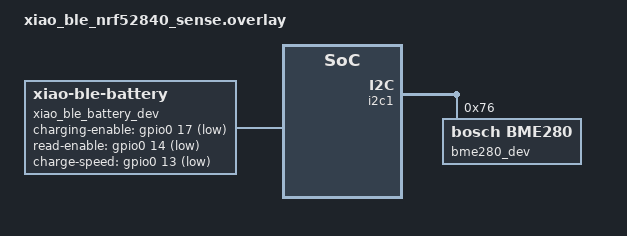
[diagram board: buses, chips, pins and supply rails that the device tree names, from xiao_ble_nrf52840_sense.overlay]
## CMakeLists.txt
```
cmake_minimum_required(VERSION 3.20.0)
find_package(Zephyr REQUIRED HINTS $ENV{ZEPHYR_BASE})

project(xiao-sense-bme280)

file(GLOB src src/*.c)
target_sources(app PRIVATE ${src})
```

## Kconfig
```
source "Kconfig.zephyr"

menu "XIAO Sense Battery Management Library configuration"

choice BATTERY_ADC_FILTERING_ALGORITHM
    prompt "ADC values filtering algorithm"
    default BATTERY_ADC_FILTERING_ALGORITHM_AVERAGE

config BATTERY_ADC_FILTERING_ALGORITHM_AVERAGE
    bool "Average"

config BATTERY_ADC_FILTERING_ALGORITHM_TRIMMED_MEAN
    bool "Trimmed-Mean"

endchoice

endmenu
```

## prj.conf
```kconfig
CONFIG_GPIO=y
CONFIG_ADC=y

CONFIG_SENSOR=y
CONFIG_SENSOR_ASYNC_API=y
CONFIG_BME280_MODE_FORCED=y

CONFIG_USB_DEVICE_STACK_NEXT=y
CONFIG_CDC_ACM_SERIAL_PRODUCT_STRING="XIAO-Sense"
CONFIG_CDC_ACM_SERIAL_PID=0x0006
CONFIG_CDC_ACM_SERIAL_VID=0x2FE3
CONFIG_CDC_ACM_SERIAL_INITIALIZE_AT_BOOT=y
# Fix: <err> udc: Failed to allocate net_buf 4095, ep 0x80
CONFIG_UDC_BUF_POOL_SIZE=8192

CONFIG_SERIAL=y
CONFIG_CONSOLE=y
CONFIG_LOG=y

CONFIG_BT=y
CONFIG_BT_PERIPHERAL=y
CONFIG_BT_DEVICE_NAME="XIAO-SENSE"
CONFIG_BT_DEVICE_APPEARANCE=21
CONFIG_BT_BAS=y
# Reserve more buffers for the attributes notifications to prevent the:
# <err> bt_att: Unable to allocate buffer for op 0x1b
CONFIG_BT_ATT_TX_COUNT=4
CONFIG_BT_CTLR_TX_PWR_DYNAMIC_CONTROL=y
```

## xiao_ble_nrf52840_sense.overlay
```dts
/ {
    xiao_ble_battery_dev: xiao_ble_battery_dev {
        compatible = "xiao-ble-battery";
        charging-enable-gpios = <&gpio0 17 GPIO_ACTIVE_LOW>;
        read-enable-gpios = <&gpio0 14 GPIO_ACTIVE_LOW>;
        charge-speed-gpios = <&gpio0 13 GPIO_ACTIVE_LOW>;
        adc-channel = <NRF_SAADC_AIN7>;
    };

    xiao_gpio_header: xiao_gpio_header {
        compatible = "xiao-gpio-header";
        d0: d0 {
            gpios = <&xiao_d 0 GPIO_ACTIVE_HIGH>;
        };
        d1: d1 {
            gpios = <&xiao_d 1 GPIO_ACTIVE_HIGH>;
        };
        d2: d2 {
            gpios = <&xiao_d 2 GPIO_ACTIVE_HIGH>;
        };
        d3: d3 {
            gpios = <&xiao_d 3 GPIO_ACTIVE_HIGH>;
        };
        d4: d4 {
            gpios = <&xiao_d 4 GPIO_ACTIVE_HIGH>;
        };
        d5: d5 {
            gpios = <&xiao_d 5 GPIO_ACTIVE_HIGH>;
        };
        d6: d6 {
            gpios = <&xiao_d 6 GPIO_ACTIVE_HIGH>;
        };
        d7: d7 {
            gpios = <&xiao_d 7 GPIO_ACTIVE_HIGH>;
        };
        d8: d8 {
            gpios = <&xiao_d 8 GPIO_ACTIVE_HIGH>;
        };
        d9: d9 {
            gpios = <&xiao_d 9 GPIO_ACTIVE_HIGH>;
        };
        d10: d10 {
            gpios = <&xiao_d 10 GPIO_ACTIVE_HIGH>;
        };
    };
};

&pwm0 {
    status = "disabled";
};

&i2c1 {
    bme280_dev: bme280@76 {
        compatible = "bosch,bme280";
        status = "okay";
        reg = <0x76>;
    };
};
```

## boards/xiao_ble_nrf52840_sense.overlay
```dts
/ {
    xiao_ble_battery_dev: xiao_ble_battery_dev {
        compatible = "xiao-ble-battery";
        charging-enable-gpios = <&gpio0 17 GPIO_ACTIVE_LOW>;
        read-enable-gpios = <&gpio0 14 GPIO_ACTIVE_LOW>;
        charge-speed-gpios = <&gpio0 13 GPIO_ACTIVE_LOW>;
        adc-channel = <NRF_SAADC_AIN7>;
        adc-total-samples = <12>;
        adc-filtering-algorithm = "trimmed-mean";
    };

    xiao_gpio_header: xiao_gpio_header {
        compatible = "xiao-gpio-header";
        d0: d0 {
            gpios = <&xiao_d 0 GPIO_ACTIVE_HIGH>;
        };
        d1: d1 {
            gpios = <&xiao_d 1 GPIO_ACTIVE_HIGH>;
        };
        d2: d2 {
            gpios = <&xiao_d 2 GPIO_ACTIVE_HIGH>;
        };
        d3: d3 {
            gpios = <&xiao_d 3 GPIO_ACTIVE_HIGH>;
        };
        d4: d4 {
            gpios = <&xiao_d 4 GPIO_ACTIVE_HIGH>;
        };
        d5: d5 {
            gpios = <&xiao_d 5 GPIO_ACTIVE_HIGH>;
        };
        d6: d6 {
            gpios = <&xiao_d 6 GPIO_ACTIVE_HIGH>;
        };
        d7: d7 {
            gpios = <&xiao_d 7 GPIO_ACTIVE_HIGH>;
        };
        d8: d8 {
            gpios = <&xiao_d 8 GPIO_ACTIVE_HIGH>;
        };
        d9: d9 {
            gpios = <&xiao_d 9 GPIO_ACTIVE_HIGH>;
        };
        d10: d10 {
            gpios = <&xiao_d 10 GPIO_ACTIVE_HIGH>;
        };
    };
};

&pwm0 {
    status = "disabled";
};

&i2c1 {
    bme280_dev: bme280@76 {
        compatible = "bosch,bme280";
        status = "okay";
        reg = <0x76>;
    };
};
```

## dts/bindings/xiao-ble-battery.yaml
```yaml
description: binding for XIAO BLE Battery Management Library

compatible: "xiao-ble-battery"

properties:
  charging-enable-gpios:
    type: phandle-array
    required: true
    description: |
      GPIO used to enable charging

  read-enable-gpios:
    type: phandle-array
    required: true
    description: GPIO used to enable the readout of the charging voltage

  charge-speed-gpios:
    type: phandle-array
    required: true
    description: GPIO used to select the charging speed (high = 100mA, low = 50mA)

  adc-input-id:
    type: int
    default: 7
    description: ADC channel id

  adc-gain:
    type: int
    default: 0
    description: ADC channel gain factor. ADC-reference * 6 = 3.6V

  adc-reference:
    type: int
    default: 4
    description: ADC reference. usually 0.6V.

  adc-channel:
    type: int
    required: true
    description: ADC channel to read out the battery voltage. Usually AIN7.

  adc-channel-id:
    type: int
    default: 7
    description: ADC channel to read out the battery voltage

  adc-resolution:
    type: int
    default: 12
    description: ADC resolution

  adc-sample-interval:
    type: int
    default: 500
    description: defines the time between each sample in [us].

  adc-total-samples:
    type: int
    default: 12
    description: |
      Change this to a higher number for better averages
      Note that increasing this holds up the thread / ADC for longer.

  adc-acquisition-time:
      type: int
      default: 0
      description: ADC Acquisition time

  battery-callbacks-max:
      type: int
      default: 3
      description: |
        Defines the number of battery callbacks.
        Feel free to increas it if necessary.
```

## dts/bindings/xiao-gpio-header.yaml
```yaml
description: XIAO nrf52840 gpio header bindings

compatible: "xiao-gpio-header"

child-binding:
  properties:
    gpios:
      type: phandle-array
      required: true
      description: The gpio header pins definition
```

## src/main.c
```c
#include <zephyr/bluetooth/conn.h>
#include <zephyr/bluetooth/gap.h>
#include <zephyr/bluetooth/hci.h>
#include <zephyr/bluetooth/hci_vs.h>
#include <zephyr/bluetooth/uuid.h>
#include <zephyr/kernel.h>
#include <zephyr/logging/log.h>
#include <zephyr/sys/byteorder.h>

#include "automation_io_service.h"
#include "battery_service.h"
#include "environmental_service.h"

LOG_MODULE_REGISTER(main, LOG_LEVEL_INF);

#define BT_CENTRAL_ADV_TX_POWER_LEVEL_DB 0
#define BT_CENTRAL_CONN_TX_POWER_LEVEL_DB 8
#define SLOW_DOWN_AD_RATE_AFTER_SEC 30

#define BT_LE_ADV_CONN_FAST \
    BT_LE_ADV_PARAM(BT_LE_ADV_OPT_CONN, BT_GAP_ADV_FAST_INT_MIN_2, BT_GAP_ADV_FAST_INT_MAX_2, NULL)

#define BT_LE_ADV_CONN_SLOW BT_LE_ADV_PARAM(BT_LE_ADV_OPT_CONN, BT_GAP_ADV_SLOW_INT_MIN, BT_GAP_ADV_SLOW_INT_MAX, NULL)

static const struct bt_data ad[] = {
    BT_DATA_BYTES(BT_DATA_FLAGS, (BT_LE_AD_GENERAL | BT_LE_AD_NO_BREDR)),
    BT_DATA_BYTES(BT_DATA_UUID16_ALL, BT_UUID_16_ENCODE(BT_UUID_BAS_VAL), BT_UUID_16_ENCODE(BT_UUID_ESS_VAL),
                  BT_UUID_16_ENCODE(BT_UUID_AIOS_VAL)),
};

static const struct bt_data sd[] = {
    BT_DATA(BT_DATA_NAME_COMPLETE, CONFIG_BT_DEVICE_NAME, sizeof(CONFIG_BT_DEVICE_NAME) - 1),
};

static struct k_work_delayable slow_down_ad_rate_work;

static bool restart_advertisement = false;

static int bt_set_tx_power(uint8_t handle_type, uint16_t handle, int8_t tx_pwr_lvl)
{
    struct bt_hci_cp_vs_write_tx_power_level* cp;
    struct bt_hci_rp_vs_write_tx_power_level* rp;
    struct net_buf *buf, *rsp = NULL;
    int err;

    buf = bt_hci_cmd_alloc(K_FOREVER);
    if (!buf) {
        LOG_ERR("Unable to allocate command buffer");
        return -ENOMEM;
    }

    cp = net_buf_add(buf, sizeof(*cp));
    cp->handle = sys_cpu_to_le16(handle);
    cp->handle_type = handle_type;
    cp->tx_power_level = tx_pwr_lvl;

    err = bt_hci_cmd_send_sync(BT_HCI_OP_VS_WRITE_TX_POWER_LEVEL, buf, &rsp);
    if (err) {
        LOG_ERR("Set Tx power err (err %d)", err);
        return err;
    }

    rp = (void*)rsp->data;
    LOG_INF("Actual Tx Power: %d", rp->selected_tx_power);

    net_buf_unref(rsp);

    return 0;
}

static void bt_ready(int err)
{
    if (err) {
        LOG_ERR("Bluetooth initialization failed (err %d)", err);
        return;
    }

    LOG_INF("Bluetooth initialized");

    err = bt_le_adv_start(BT_LE_ADV_CONN_FAST, ad, ARRAY_SIZE(ad), sd, ARRAY_SIZE(sd));
    if (err) {
        LOG_ERR("Advertising failed to start (err %d)", err);
        return;
    }

    err = bt_set_tx_power(BT_HCI_VS_LL_HANDLE_TYPE_ADV, 0, BT_CENTRAL_ADV_TX_POWER_LEVEL_DB);
    if (err) {
        LOG_INF("Unable to set adv TX power (err %d)", err);
        return;
    }

    k_work_schedule(&slow_down_ad_rate_work, K_SECONDS(SLOW_DOWN_AD_RATE_AFTER_SEC));

    LOG_INF("Advertising successfully started");
}

static void bt_connected(struct bt_conn* conn, uint8_t err)
{
    char addr[BT_ADDR_LE_STR_LEN];
    static uint16_t conn_handle;

    k_work_cancel_delayable(&slow_down_ad_rate_work);

    bt_addr_le_to_str(bt_conn_get_dst(conn), addr, sizeof(addr));
    if (err) {
        LOG_ERR("Connection failed, err 0x%02x %s", err, bt_hci_err_to_str(err));
    } else {
        LOG_INF("Connected to %s", addr);
    }

    err = bt_hci_get_conn_handle(conn, &conn_handle);
    if (err) {
        LOG_INF("Unable to get connection handle (err %d)", err);
        return;
    }

    err = bt_set_tx_power(BT_HCI_VS_LL_HANDLE_TYPE_CONN, conn_handle, BT_CENTRAL_CONN_TX_POWER_LEVEL_DB);
    if (err) {
        LOG_INF("Unable to set conn TX power (err %d)", err);
        return;
    }
}

static void bt_disconnected(struct bt_conn* conn, uint8_t reason)
{
    char addr[BT_ADDR_LE_STR_LEN];

    restart_advertisement = true;

    bt_addr_le_to_str(bt_conn_get_dst(conn), addr, sizeof(addr));
    LOG_INF("Disconnected from %s (reason 0x%02x)", addr, reason);
}

static void bt_recycled()
{
    int err;

    if (!restart_advertisement) {
        return;
    }
    restart_advertisement = false;

    err = bt_le_adv_start(BT_LE_ADV_CONN_FAST, ad, ARRAY_SIZE(ad), sd, ARRAY_SIZE(sd));
    if (err) {
        LOG_ERR("Advertising failed to restart (err %d)", err);
        return;
    }

    err = bt_set_tx_power(BT_HCI_VS_LL_HANDLE_TYPE_ADV, 0, BT_CENTRAL_ADV_TX_POWER_LEVEL_DB);
    if (err) {
        LOG_INF("Unable to set adv TX power (err %d)", err);
        return;
    }

    k_work_schedule(&slow_down_ad_rate_work, K_SECONDS(SLOW_DOWN_AD_RATE_AFTER_SEC));

    LOG_INF("Advertising successfully restarted");
}

static void slow_down_ad_rate(struct k_work* work)
{
    int err;

    err = bt_le_adv_stop();
    if (err) {
        LOG_ERR("Advertising failed to stop (err %d)", err);
        return;
    }

    err = bt_le_adv_start(BT_LE_ADV_CONN_SLOW, ad, ARRAY_SIZE(ad), sd, ARRAY_SIZE(sd));
    if (err) {
        LOG_ERR("Advertising failed start (err %d)", err);
        return;
    }

    err = bt_set_tx_power(BT_HCI_VS_LL_HANDLE_TYPE_ADV, 0, BT_CENTRAL_ADV_TX_POWER_LEVEL_DB);
    if (err) {
        LOG_INF("Unable to set adv TX power (err %d)", err);
        return;
    }

    LOG_INF("Advertising rate changed");
}

BT_CONN_CB_DEFINE(conn_callbacks) = {
    .connected = bt_connected,
    .disconnected = bt_disconnected,
    .recycled = bt_recycled,
};

int main(void)
{
    int err;

    k_work_init_delayable(&slow_down_ad_rate_work, slow_down_ad_rate);

    err = bt_enable(bt_ready);
    if (err) {
        LOG_ERR("Bluetooth initialization failed (err %d)", err);
        return 0;
    }

    err = environmental_service_start();
    if (err) {
        LOG_ERR("Failed to start Environmental Sensing Service (error %d)", err);
        return 0;
    }

    err = battery_service_start();
    if (err) {
        LOG_ERR("Failed to start Battery Service (error %d)", err);
        return 0;
    }

    err = automation_io_service_start();
    if (err) {
        LOG_ERR("Failed to start LED Service (err %d)", err);
        return 0;
    }

    return 0;
}
```

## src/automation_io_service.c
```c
#include "automation_io_service.h"

#include <zephyr/bluetooth/bluetooth.h>
#include <zephyr/bluetooth/gatt.h>
#include <zephyr/drivers/gpio.h>
#include <zephyr/logging/log.h>

LOG_MODULE_REGISTER(automation_io_service, LOG_LEVEL_INF);

static const uint8_t NUM_OF_DIGITALS[] = {3};

static const struct gpio_dt_spec led0 = GPIO_DT_SPEC_GET(DT_ALIAS(led0), gpios);
static const struct gpio_dt_spec led1 = GPIO_DT_SPEC_GET(DT_ALIAS(led1), gpios);
static const struct gpio_dt_spec led2 = GPIO_DT_SPEC_GET(DT_ALIAS(led2), gpios);

static volatile uint8_t leds_state = 0x00;

static void update_led_state(const struct gpio_dt_spec *led, uint8_t index, bool is_on)
{
    int val = is_on > 0 ? 1 : 0;
    gpio_pin_set_dt(led, val);
    LOG_INF("LED%i is %s", index, is_on ? "On" : "Off");
}

static ssize_t write_do_state(struct bt_conn *conn, const struct bt_gatt_attr *attr, const void *buf, uint16_t len,
                              uint16_t offset, uint8_t flags)
{
    if (offset) {
        return BT_GATT_ERR(BT_ATT_ERR_INVALID_OFFSET);
    } else if (len != 1) {
        return BT_GATT_ERR(BT_ATT_ERR_INVALID_ATTRIBUTE_LEN);
    }

    uint8_t state = *(uint8_t *)buf;
    leds_state = state;
    update_led_state(&led0, 0, state & 0x01);
    update_led_state(&led1, 1, state & 0x04);
    update_led_state(&led2, 2, state & 0x10);

    return len;
}

static ssize_t read_do_state(struct bt_conn *conn, const struct bt_gatt_attr *attr, void *buf, uint16_t len,
                             uint16_t offset)
{
    uint8_t state = leds_state;

    return bt_gatt_attr_read(conn, attr, buf, len, offset, &state, sizeof(state));
}

static ssize_t read_num_of_digitals(struct bt_conn *conn, const struct bt_gatt_attr *attr, void *buf, uint16_t len,
                                    uint16_t offset)
{
    uint8_t num = *NUM_OF_DIGITALS;

    return bt_gatt_attr_read(conn, attr, buf, len, offset, &num, sizeof(num));
}

BT_GATT_SERVICE_DEFINE(automation_io_service, BT_GATT_PRIMARY_SERVICE(BT_UUID_AIOS),
                       BT_GATT_CHARACTERISTIC(BT_UUID_GATT_DO, (BT_GATT_CHRC_WRITE | BT_GATT_CHRC_READ),
                                              (BT_GATT_PERM_WRITE | BT_GATT_PERM_READ), read_do_state, write_do_state,
                                              NULL),
                       BT_GATT_DESCRIPTOR(BT_UUID_GATT_NUM_OF_DIGITALS, BT_GATT_PERM_READ, read_num_of_digitals, NULL,
                                          (void *)NUM_OF_DIGITALS), );

int automation_io_service_start(void)
{
    int err;

    err = gpio_pin_configure_dt(&led0, GPIO_OUTPUT_INACTIVE);
    if (err) {
        LOG_ERR("LED 0 pin configure failed (err %d)", err);
        return err;
    }

    err = gpio_pin_configure_dt(&led1, GPIO_OUTPUT_INACTIVE);
    if (err) {
        LOG_ERR("LED 1 pin configure failed (err %d)", err);
        return err;
    }

    err = gpio_pin_configure_dt(&led2, GPIO_OUTPUT_INACTIVE);
    if (err) {
        LOG_ERR("LED 2 pin configure failed (err %d)", err);
        return err;
    }

    return 0;
}
```

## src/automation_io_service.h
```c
#ifndef __AIOS_SERVICE_H__
#define __AIOS_SERVICE_H__

int automation_io_service_start(void);

#include <zephyr/bluetooth/bluetooth.h>

// GATT Descriptor Number of Digitals UUID Value
#define BT_UUID_GATT_NUM_OF_DIGITALS_VAL 0x2909
// GATT Descriptor Number of Digitals
#define BT_UUID_GATT_NUM_OF_DIGITALS BT_UUID_DECLARE_16(BT_UUID_GATT_NUM_OF_DIGITALS_VAL)

#endif  //__AIOS_SERVICE_H__
```

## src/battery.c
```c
/*
 * Copyright 2024 Marcus Alexander Tjomsaas
 *
 * Licensed under the Apache License, Version 2.0 (the "License");
 * you may not use this file except in compliance with the License.
 * You may obtain a copy of the License at
 *
 *     http://www.apache.org/licenses/LICENSE-2.0
 *
 * Unless required by applicable law or agreed to in writing, software
 * distributed under the License is distributed on an "AS IS" BASIS,
 * WITHOUT WARRANTIES OR CONDITIONS OF ANY KIND, either express or implied.
 * See the License for the specific language governing permissions and
 * limitations under the License.
 */

#include "battery.h"

#include <zephyr/kernel.h>
#include <zephyr/device.h>
#include <zephyr/devicetree.h>
#include <zephyr/drivers/gpio.h>
#include <zephyr/drivers/adc.h>
#include <zephyr/logging/log.h>

LOG_MODULE_REGISTER(battery, LOG_LEVEL_INF);

#if !DT_NODE_EXISTS(DT_NODELABEL(xiao_ble_battery_dev))
#error "Overlay for xiao_ble_battery_dev node not properly defined."
#endif

#define BATTERY_NODE DT_NODELABEL(xiao_ble_battery_dev)
#define BATTERY_CALLBACK_MAX DT_PROP(BATTERY_NODE, battery_callbacks_max)

// Change this to a higher number for better averages
// Note that increasing this holds up the thread / ADC for longer.
#define ADC_TOTAL_SAMPLES DT_PROP(BATTERY_NODE, adc_total_samples)

//--------------------------------------------------------------
// ADC setup

#define ADC_FILTERING_ALGORITHM_AVERAGE       0
#define ADC_FILTERING_ALGORITHM_TRIMMED_MEAN  1

#define ADC_RESOLUTION          DT_PROP(BATTERY_NODE, adc_resolution) 
#define ADC_CHANNEL             DT_PROP(BATTERY_NODE, adc_channel_id) 
#define ADC_PORT                DT_PROP(BATTERY_NODE, adc_channel) 
#define ADC_REFERENCE           DT_PROP(BATTERY_NODE, adc_reference)
#define ADC_GAIN                DT_PROP(BATTERY_NODE, adc_gain) 
#define ADC_SAMPLE_INTERVAL_US  DT_PROP(BATTERY_NODE, adc_sample_interval)
#define ADC_ACQUISITION_TIME    DT_PROP(BATTERY_NODE, adc_acquisition_time) 
#define ADC_FILTERING_ALGORITHM DT_ENUM_IDX(BATTERY_NODE, adc_filtering_algorithm)

#if ADC_FILTERING_ALGORITHM == ADC_FILTERING_ALGORITHM_TRIMMED_MEAN
#include <stdlib.h>
#endif

static struct adc_channel_cfg channel_7_cfg = {
    .gain = ADC_GAIN,
    .reference = ADC_REFERENCE,
    .acquisition_time = ADC_ACQUISITION_TIME,
    .channel_id = ADC_CHANNEL,
#ifdef CONFIG_ADC_NRFX_SAADC
    .input_positive = ADC_PORT
#endif
};

static struct adc_sequence_options options = {
    .extra_samplings = ADC_TOTAL_SAMPLES - 1,
    .interval_us = ADC_SAMPLE_INTERVAL_US,
};

static int16_t sample_buffer[ADC_TOTAL_SAMPLES];
static struct adc_sequence sequence = {
    .options = &options,
    .channels = BIT(ADC_CHANNEL),
    .buffer = sample_buffer,
    .buffer_size = sizeof(sample_buffer),
    .resolution = ADC_RESOLUTION,
};

//--------------------------------------------------------------
// Local variables

// MCU peripherals for reading battery voltage
static const struct device *adc_battery_dev = DEVICE_DT_GET(DT_NODELABEL(adc));

static const struct gpio_dt_spec charging_enable = GPIO_DT_SPEC_GET_OR(BATTERY_NODE, charging_enable_gpios, {0});
static const struct gpio_dt_spec read_enable = GPIO_DT_SPEC_GET_OR(BATTERY_NODE, read_enable_gpios, {0});
static const struct gpio_dt_spec charge_speed = GPIO_DT_SPEC_GET_OR(BATTERY_NODE, charge_speed_gpios, {0});

// Battery work and work queue
static struct k_work_delayable sample_periodic_work;
static struct k_work sample_once_work;

// Charging interrupt
static struct gpio_callback charging_callback;
static struct k_work charging_interrupt_work;

// Callbacks for change in charging
static battery_charging_callback_t charging_callbacks[BATTERY_CALLBACK_MAX];
static size_t charging_callbacks_registered = 0;

// Callbacks for when a battery sample is ready
static battery_sample_callback_t sample_ready_callback[BATTERY_CALLBACK_MAX];
static size_t sample_ready_callbacks_registered = 0;

static uint32_t sampling_interval_ms;
static uint8_t is_initialized = false;

static K_MUTEX_DEFINE(battery_mut);

typedef struct
{
    uint16_t voltage;
    uint8_t percentage;
} BatteryState;

#define BATTERY_STATES_COUNT 11
// Voltage levels in millivolts and corresponding percentages for a typical LiPo battery.
// Adjust these values based on your battery's datasheet for better accuracy.
static BatteryState battery_states[BATTERY_STATES_COUNT] = {
    {4200, 100}, // Fully charged
    {4110, 90},
    {4020, 80},
    {3930, 70},
    {3840, 60},
    {3750, 50},
    {3660, 40},
    {3570, 30},
    {3480, 20},
    {3390, 10},
    {3300, 0} // Minimum safe voltage
};

//------------------------------------------------------------------------------------------
// Private functions

static int battery_enable_read()
{
    return gpio_pin_set_dt(&read_enable, 1);
}

static void run_charging_callbacks(struct k_work *work)
{
    bool is_charging = gpio_pin_get_dt(&charging_enable);
    LOG_DBG("Charger %s", is_charging ? "connected" : "disconnected");

    for (uint8_t callback = 0; callback < charging_callbacks_registered; callback++)
    {
        charging_callbacks[callback](is_charging);
    }
}

static void run_sample_ready_callbacks(uint32_t millivolt)
{

    for (uint8_t callback = 0; callback < sample_ready_callbacks_registered; callback++)
    {
        sample_ready_callback[callback](millivolt);
    }
}

static void charging_callback_handler(const struct device *dev,
                                      struct gpio_callback *cb,
                                      uint32_t pins)
{
    k_work_submit(&charging_interrupt_work);
}

static void sample_periodic_handler(struct k_work *work)
{
    uint16_t millivolt;
    int ret = battery_get_millivolt(&millivolt);
    if (ret)
    {
        LOG_ERR("Failed to get battery voltage");
        goto reschedule;
    }

    // Run all the callbacks waiting for a voltage reading.
    run_sample_ready_callbacks(millivolt);

reschedule:
    k_work_reschedule(&sample_periodic_work, K_MSEC(sampling_interval_ms));
}

static void sample_once_handler(struct k_work *work)
{
    uint16_t millivolt;
    int ret = battery_get_millivolt(&millivolt);
    if (ret)
    {
        LOG_ERR("Failed to get battery voltage");
        return;
    }

    // Run all the callbacks waiting for voltage readings.
    run_sample_ready_callbacks(millivolt);
}

#if ADC_FILTERING_ALGORITHM == ADC_FILTERING_ALGORITHM_TRIMMED_MEAN
static int sample_buffer_compare(const void *a, const void *b)
{
    return (*(int16_t*)a - *(int16_t*)b);
}
#endif

//------------------------------------------------------------------------------------------
// Public functions

int battery_register_charging_callback(battery_charging_callback_t callback)
{
    if (charging_callbacks_registered == BATTERY_CALLBACK_MAX)
    {
        LOG_ERR("Maximum number of callbacks reached, operation aborted");
        return -ENOMEM;
    }

    charging_callbacks[charging_callbacks_registered++] = callback;

    return 0;
}

int battery_register_sample_callback(battery_sample_callback_t callback)
{
    if (sample_ready_callbacks_registered == BATTERY_CALLBACK_MAX)
    {
        LOG_ERR("Maximum number of callbacks reached, operation aborted");
        return -ENOMEM;
    }

    sample_ready_callback[sample_ready_callbacks_registered++] = callback;
    return 0;
}

int battery_set_fast_charge()
{
    if (!is_initialized)
    {
        return -ECANCELED;
    }

    return gpio_pin_set_dt(&charge_speed, 1); // FAST charge 100mA
}

int battery_set_slow_charge()
{
    if (!is_initialized)
    {
        return -ECANCELED;
    }

    return gpio_pin_set_dt(&charge_speed, 0); // SLOW charge 50mA
}

int battery_get_millivolt(uint16_t *battery_millivolt)
{

    int ret = 0;

    // Voltage divider circuit (Should tune R1 in software if possible)
    const uint16_t R1 = 1037; // Originally 1M ohm, calibrated after measuring actual voltage values. Can happen due to resistor tolerances, temperature ect..
    const uint16_t R2 = 510;  // 510K ohm

    // ADC measure
    uint16_t adc_vref = adc_ref_internal(adc_battery_dev);

    ret = k_mutex_lock(&battery_mut, K_SECONDS(10));
    if (ret < 0)
    {
        LOG_ERR("Cannot get battery voltage as mutex is locked");
        return ret;
    }

    ret |= adc_read(adc_battery_dev, &sequence);

    if (ret)
    {
        LOG_WRN("ADC read failed (error %d)", ret);
    }

    uint32_t adc_sum = 0;
    #if ADC_FILTERING_ALGORITHM == ADC_FILTERING_ALGORITHM_TRIMMED_MEAN
    // Get 25% trimmed mean sample value.
    qsort(sample_buffer, ADC_TOTAL_SAMPLES, sizeof(int16_t), sample_buffer_compare);
    for (uint8_t sample = ADC_TOTAL_SAMPLES / 4; sample < ADC_TOTAL_SAMPLES / 4 + ADC_TOTAL_SAMPLES / 2; sample++)
    {
        adc_sum += sample_buffer[sample]; // ADC value, not millivolt yet.
    }
    uint32_t adc_average = adc_sum / (ADC_TOTAL_SAMPLES / 2);
    #else
    // Get average sample value.
    for (uint8_t sample = 0; sample < ADC_TOTAL_SAMPLES; sample++)
    {
        adc_sum += sample_buffer[sample]; // ADC value, not millivolt yet.
    }
    uint32_t adc_average = adc_sum / ADC_TOTAL_SAMPLES;
    #endif

    // Convert ADC value to millivolts
    uint32_t adc_mv = adc_average;
    ret |= adc_raw_to_millivolts(adc_vref, ADC_GAIN, ADC_RESOLUTION, &adc_mv);

    // Calculate battery voltage.
    float scale_factor = ((float)(R1 + R2)) / R2;
    *battery_millivolt = (uint16_t)(adc_mv * scale_factor);

    k_mutex_unlock(&battery_mut);

    LOG_DBG("%d mV", *battery_millivolt);
    return ret;
}

int battery_get_percentage(uint8_t *battery_percentage, uint16_t battery_millivolt)
{
    // Ensure voltage is within bounds
    if (battery_millivolt >= battery_states[0].voltage)
    {
        *battery_percentage = 100;
        return 0;
    }
    else if (battery_millivolt <= battery_states[BATTERY_STATES_COUNT - 1].voltage)
    {
        *battery_percentage = 0;
        return 0;
    }

    for (uint16_t i = 0; i < BATTERY_STATES_COUNT - 1; i++)
    {
        uint16_t voltage_high = battery_states[i].voltage;
        uint16_t voltage_low = battery_states[i + 1].voltage;

        // Find the two points between which battery_millivolt lies
        if (battery_millivolt <= voltage_high && battery_millivolt >= voltage_low)
        {
            uint8_t percentage_high = battery_states[i].percentage;
            uint8_t percentage_low = battery_states[i + 1].percentage;

            int32_t voltage_range = voltage_high - voltage_low;          // Should be positive
            int32_t percentage_range = percentage_high - percentage_low; // Should be positive
            int32_t voltage_diff = battery_millivolt - voltage_low;      // Non-negative

            if (voltage_range == 0)
            {
                *battery_percentage = percentage_high;
            }
            else
            {
                *battery_percentage = percentage_low + (voltage_diff * percentage_range) / voltage_range;
            }

            LOG_DBG("%d %%", *battery_percentage);
            return 0;
        }
    }

    // If voltage is not within any defined range
    return -ESPIPE;
}

int battery_start_sampling(uint32_t interval_ms)
{
    if (interval_ms == 0)
    {
        LOG_ERR("Sampling interval must be greater than zero");
        return -EINVAL;
    }

    sampling_interval_ms = interval_ms;
    k_work_schedule(&sample_periodic_work, K_MSEC(interval_ms));

    LOG_INF("Start sampling battery voltage at %d ms", interval_ms);
    return 0;
}

int battery_stop_sampling(void)
{
    k_work_cancel_delayable(&sample_periodic_work);
    LOG_INF("Stopped periodic sampling of battery voltage");
    return 0;
}

int battery_sample_once(void)
{
    k_work_submit(&sample_once_work);
    return 0;
}

bool battery_is_charging(void)
{
    return gpio_pin_get_dt(&charging_enable);
}

int battery_init()
{
    int ret = 0;

    // ADC setup
    if (!device_is_ready(adc_battery_dev))
    {
        LOG_ERR("ADC device not found!");
        return -EIO;
    }

    ret |= adc_channel_setup(adc_battery_dev, &channel_7_cfg);
    if (ret)
    {
        LOG_ERR("ADC setup failed (error %d)", ret);
        return ret;
    }

    // GPIO setup
    if (!gpio_is_ready_dt(&charging_enable))
    {
        LOG_ERR("GPIO charging_enable not found!");
        return -EIO;
    }

    if (!gpio_is_ready_dt(&read_enable))
    {
        LOG_ERR("GPIO read_enable not found!");
        return -EIO;
    }

    if (!gpio_is_ready_dt(&charge_speed))
    {
        LOG_ERR("GPIO charging_enable not found!");
        return -EIO;
    }

    ret |= gpio_pin_configure_dt(&charging_enable, GPIO_INPUT | GPIO_ACTIVE_LOW);
    if (ret)
    {
        LOG_ERR("Failed to configure GPIO_BATTERY_CHARGING_ENABLE pin (error %d)", ret);
        return ret;
    }

    ret |= gpio_pin_interrupt_configure_dt(&charging_enable, GPIO_INT_EDGE_BOTH);
    if (ret)
    {
        LOG_ERR("Failed to configure GPIO_BATTERY_CHARGING_ENABLE pin interrupt (error %d)", ret);
        return ret;
    }

    ret |= gpio_pin_configure_dt(&read_enable, GPIO_OUTPUT | GPIO_ACTIVE_LOW);
    if (ret)
    {
        LOG_ERR("Failed to configure GPIO_BATTERY_READ_ENABLE pin (error %d)", ret);
        return ret;
    }
    ret |= gpio_pin_configure_dt(&charge_speed, GPIO_OUTPUT | GPIO_ACTIVE_LOW);
    if (ret)
    {
        LOG_ERR("Failed to configure GPIO_BATTERY_CHARGE_SPEED pin (error %d)", ret);
        return ret;
    }

    // Battery workers
    k_work_init_delayable(&sample_periodic_work, sample_periodic_handler);
    k_work_init(&sample_once_work, sample_once_handler);

    // Charger interrupt setup
    k_work_init(&charging_interrupt_work, run_charging_callbacks);
    gpio_init_callback(&charging_callback, charging_callback_handler,
                       BIT(charging_enable.pin));
    gpio_add_callback_dt(&charging_enable, &charging_callback);

    // Lets check the current charging status
    bool is_charging = gpio_pin_get_dt(&charging_enable);
    LOG_INF("Charger %s", is_charging ? "connected" : "disconnected");

    is_initialized = true;
    LOG_INF("Initialized");

    // Get ready for battery charging and sampling
    ret |= battery_set_fast_charge();
    if (ret)
    {
        LOG_ERR("Failed to set fast charging (error %d)", ret);
        return ret;
    }

    ret |= battery_enable_read();
    if (ret)
    {
        LOG_ERR("Failed to enable battery reading (error %d)", ret);
        return ret;
    }

    return 0;
}
```

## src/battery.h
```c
/*
 * Copyright 2024 Marcus Alexander Tjomsaas
 *
 * Licensed under the Apache License, Version 2.0 (the "License");
 * you may not use this file except in compliance with the License.
 * You may obtain a copy of the License at
 *
 *     http://www.apache.org/licenses/LICENSE-2.0
 *
 * Unless required by applicable law or agreed to in writing, software
 * distributed under the License is distributed on an "AS IS" BASIS,
 * WITHOUT WARRANTIES OR CONDITIONS OF ANY KIND, either express or implied.
 * See the License for the specific language governing permissions and
 * limitations under the License.
 */

#ifndef __BATTERY_H__
#define __BATTERY_H__

#include <stdbool.h>
#include <stdint.h>

// Callback function type definitions
typedef void (*battery_charging_callback_t)(bool is_charging);
typedef void (*battery_sample_callback_t)(uint16_t millivolt);

/**
 * @brief Register a callback function that is executed every time the charging state changes.
 *
 * @retval 0 if successful. Negative errno number on error.
 *
 * @note If the error is -12, try increasing the BATTERY_CALLBACK_MAX define in the library.
 */
int battery_register_charging_callback(battery_charging_callback_t callback);

/**
 * @brief Register a callback function that is executed every time a voltage sample is ready.
 *
 * @retval 0 if successful. Negative errno number on error.
 *
 * @note If the error is -12, try increasing the BATTERY_CALLBACK_MAX define in the library.
 */
int battery_register_sample_callback(battery_sample_callback_t callback);

/**
 * @brief Set battery charging to fast charge (100mA).
 *
 * @retval 0 if successful. Negative errno number on error.
 */
int battery_set_fast_charge(void);

/**
 * @brief Set battery charging to slow charge (50mA).
 *
 * @retval 0 if successful. Negative errno number on error.
 */
int battery_set_slow_charge(void);

/**
 * @brief Get the current battery voltage in millivolts.
 *
 * @param[out] battery_millivolt Pointer where the battery voltage will be stored.
 *
 * @retval 0 if successful. Negative errno number on error.
 */
int battery_get_millivolt(uint16_t *battery_millivolt);

/**
 * @brief Calculate the battery percentage based on the voltage.
 *
 * @param[out] battery_percentage Pointer where the battery percentage will be stored.
 * @param[in] battery_millivolt Voltage reading to calculate the percentage from.
 *
 * @retval 0 if successful. Negative errno number on error.
 */
int battery_get_percentage(uint8_t *battery_percentage, uint16_t battery_millivolt);

/**
 * @brief Start periodic sampling of the battery voltage.
 *
 * @param[in] interval_ms Sampling interval in milliseconds.
 *
 * @retval 0 if successful. Negative errno number on error.
 *
 * @note Registered sample callbacks are called when a new sample is ready.
 */
int battery_start_sampling(uint32_t interval_ms);

/**
 * @brief Stop periodic sampling of the battery voltage.
 *
 * @retval 0 if successful. Negative errno number on error.
 */
int battery_stop_sampling(void);

/**
 * @brief Take a one-time battery voltage sample.
 *
 * @retval 0 if successful. Negative errno number on error.
 *
 * @note Registered sample callbacks are called when the sample is ready.
 */
int battery_sample_once(void);

/**
 * @brief Initialize the battery management system.
 *
 * @retval 0 if successful. Negative errno number on error.
 */
int battery_init(void);

#endif
```

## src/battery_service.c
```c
#include "battery_service.h"

#include <zephyr/bluetooth/services/bas.h>
#include <zephyr/logging/log.h>

#include "battery.h"

#define SAMPLING_INTERVAL_MS 15000

LOG_MODULE_REGISTER(battery_service, LOG_LEVEL_INF);

static volatile bool is_charging = false;
static volatile uint16_t last_millivolt = 0;

static void battery_voltage_update(uint16_t millivolt)
{
    uint8_t percentage = 0;

    if (is_charging && millivolt < last_millivolt) {
        millivolt = last_millivolt;
    } else if (!is_charging && millivolt > last_millivolt) {
        millivolt = last_millivolt;
    }
    last_millivolt = millivolt;

    int err = battery_get_percentage(&percentage, millivolt);
    if (err) {
        LOG_ERR("Failed to calculate battery percentage");
        return;
    }

    LOG_INF("Battery is at %d mV (capacity %d%%, %s)", millivolt, percentage, is_charging ? "charging" : "discharging");

    bt_bas_set_battery_level(percentage);
}

static void battery_charging_state_update(bool connected)
{
    is_charging = connected;
    LOG_INF("Charger %s", connected ? "connected" : "disconnected");
}

int battery_service_start(void)
{
    uint16_t battery_millivolt;
    int err;

    err = battery_init();
    if (err) {
        LOG_ERR("Failed to initialize battery management (error %d)", err);
        return err;
    }

    err = battery_register_charging_callback(battery_charging_state_update);
    if (err) {
        LOG_ERR("Failed to register charging callback (error %d)", err);
        return err;
    }

    err = battery_register_sample_callback(battery_voltage_update);
    if (err) {
        LOG_ERR("Failed to register sample callback (error %d)", err);
        return err;
    }

    err = battery_set_fast_charge();
    if (err) {
        LOG_ERR("Failed to set battery fast charging (error %d)", err);
        return err;
    }

    is_charging = battery_is_charging();
    battery_get_millivolt(&battery_millivolt);
    last_millivolt = battery_millivolt;
    battery_voltage_update(battery_millivolt);

    battery_start_sampling(SAMPLING_INTERVAL_MS);

    return 0;
}
```

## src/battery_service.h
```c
#ifndef __BATTERY_SERVICE_H__
#define __BATTERY_SERVICE_H__

int battery_service_start(void);

#endif  //__BATTERY_SERVICE_H__
```

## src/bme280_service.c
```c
#include "bme280_service.h"

#include <zephyr/bluetooth/bluetooth.h>
#include <zephyr/bluetooth/gatt.h>
#include <zephyr/device.h>
#include <zephyr/devicetree.h>
#include <zephyr/drivers/sensor.h>
#include <zephyr/drivers/sensor_data_types.h>
#include <zephyr/kernel.h>
#include <zephyr/logging/log.h>
#include <zephyr/rtio/rtio.h>

LOG_MODULE_REGISTER(bme280_service, LOG_LEVEL_INF);

#define SAMPLING_INTERVAL_MS 5000

const struct device *const bme280_dev = DEVICE_DT_GET_ANY(bosch_bme280);

SENSOR_DT_READ_IODEV(bme280_iodev, DT_COMPAT_GET_ANY_STATUS_OKAY(bosch_bme280), {SENSOR_CHAN_AMBIENT_TEMP, 0},
                     {SENSOR_CHAN_HUMIDITY, 0}, {SENSOR_CHAN_PRESS, 0});

RTIO_DEFINE(bme280_ctx, 1, 1);

const struct sensor_decoder_api *decoder;
static struct k_work_delayable sample_periodic_work;

static const struct bt_gatt_cpf temperature_att_format_cpf = {
    .format = 0x0E, /* sint16 */
    .exponent = -2,
    .unit = 0x272F,        /* Degree Celsius */
    .name_space = 0x01,    /* Bluetooth SIG */
    .description = 0x010C, /* "outside" */
};

static const struct bt_gatt_cpf pressure_att_format_cpf = {
    .format = 0x0E, /* sint16 */
    .exponent = 0,
    .unit = 0x2724,        /* Pascal (1 hPa = 100 Pa) */
    .name_space = 0x01,    /* Bluetooth SIG */
    .description = 0x010C, /* "outside" */
};

static const struct bt_gatt_cpf humidity_att_format_cpf = {
    .format = 0x0E, /* sint16 */
    .exponent = -2,
    .unit = 0x2A6F,        /* Humidity */
    .name_space = 0x01,    /* Bluetooth SIG */
    .description = 0x010C, /* "outside" */
};

static ssize_t read_temperature(struct bt_conn *conn, const struct bt_gatt_attr *attr, void *buf, uint16_t len,
                                uint16_t offset);
static ssize_t read_pressure(struct bt_conn *conn, const struct bt_gatt_attr *attr, void *buf, uint16_t len,
                             uint16_t offset);
static ssize_t read_humidity(struct bt_conn *conn, const struct bt_gatt_attr *attr, void *buf, uint16_t len,
                             uint16_t offset);
static void blvl_ccc_temperature_cfg_changed(const struct bt_gatt_attr *attr, uint16_t value);
static void blvl_ccc_pressure_cfg_changed(const struct bt_gatt_attr *attr, uint16_t value);
static void blvl_ccc_humidity_cfg_changed(const struct bt_gatt_attr *attr, uint16_t value);

BT_GATT_SERVICE_DEFINE(ess_service, BT_GATT_PRIMARY_SERVICE(BT_UUID_ESS),
                       BT_GATT_CHARACTERISTIC(BT_UUID_TEMPERATURE, BT_GATT_CHRC_READ | BT_GATT_CHRC_NOTIFY,
                                              BT_GATT_PERM_READ, read_temperature, NULL, NULL),
                       BT_GATT_CCC(blvl_ccc_temperature_cfg_changed, BT_GATT_PERM_READ | BT_GATT_PERM_WRITE),
                       BT_GATT_CPF(&temperature_att_format_cpf),
                       BT_GATT_CHARACTERISTIC(BT_UUID_PRESSURE, BT_GATT_CHRC_READ | BT_GATT_CHRC_NOTIFY,
                                              BT_GATT_PERM_READ, read_pressure, NULL, NULL),
                       BT_GATT_CCC(blvl_ccc_pressure_cfg_changed, BT_GATT_PERM_READ | BT_GATT_PERM_WRITE),
                       BT_GATT_CPF(&pressure_att_format_cpf),
                       BT_GATT_CHARACTERISTIC(BT_UUID_HUMIDITY, BT_GATT_CHRC_READ | BT_GATT_CHRC_NOTIFY,
                                              BT_GATT_PERM_READ, read_humidity, NULL, NULL),
                       BT_GATT_CCC(blvl_ccc_humidity_cfg_changed, BT_GATT_PERM_READ | BT_GATT_PERM_WRITE),
                       BT_GATT_CPF(&humidity_att_format_cpf), );

static int16_t temperature = 0;
static int16_t pressure = 0;
static int16_t humidity = 0;

static int16_t sensor_q31_data_to_int16_attr(struct sensor_q31_data *data)
{
    float32_t v = data->readings[0].value;
    int8_t s = data->shift;

    return v / (1 << (31 - s)) * 100.f;
}

static void sample_periodic_handler(struct k_work *work)
{
    uint8_t buff[32];
    uint32_t temp_fit = 0;
    uint32_t press_fit = 0;
    uint32_t hum_fit = 0;
    struct sensor_q31_data temp_data = {0};
    struct sensor_q31_data press_data = {0};
    struct sensor_q31_data hum_data = {0};
    int err;

    err = sensor_read(&bme280_iodev, &bme280_ctx, buff, sizeof(buff));
    if (err) {
        LOG_ERR("Failed to read the sensor data (error %d)", err);
        goto reschedule;
    }

    err = sensor_get_decoder(bme280_dev, &decoder);
    if (err) {
        LOG_ERR("Failed to get the sensor's decoder API (error %d)", err);
        goto reschedule;
    }

    decoder->decode(buff, (struct sensor_chan_spec){SENSOR_CHAN_AMBIENT_TEMP, 0}, &temp_fit, 1, &temp_data);
    decoder->decode(buff, (struct sensor_chan_spec){SENSOR_CHAN_PRESS, 0}, &press_fit, 1, &press_data);
    decoder->decode(buff, (struct sensor_chan_spec){SENSOR_CHAN_HUMIDITY, 0}, &hum_fit, 1, &hum_data);

    temperature = sensor_q31_data_to_int16_attr(&temp_data);
    pressure = sensor_q31_data_to_int16_attr(&press_data);
    humidity = sensor_q31_data_to_int16_attr(&hum_data);

    bt_gatt_notify(NULL, &ess_service.attrs[2], &temperature, sizeof(temperature));
    bt_gatt_notify(NULL, &ess_service.attrs[6], &pressure, sizeof(pressure));
    bt_gatt_notify(NULL, &ess_service.attrs[10], &humidity, sizeof(humidity));

    LOG_INF("Temp: %s%d.%d DegC; Press: %s%d.%d hPa; Humidity: %s%d.%d %%RH",
            PRIq_arg(temp_data.readings[0].temperature, 2, temp_data.shift),
            PRIq_arg(press_data.readings[0].pressure, 2, press_data.shift),
            PRIq_arg(hum_data.readings[0].humidity, 2, hum_data.shift));

reschedule:
    k_work_reschedule(&sample_periodic_work, K_MSEC(SAMPLING_INTERVAL_MS));
}

static ssize_t read_temperature(struct bt_conn *conn, const struct bt_gatt_attr *attr, void *buf, uint16_t len,
                                uint16_t offset)
{
    return bt_gatt_attr_read(conn, attr, buf, len, offset, &temperature, sizeof(temperature));
}

static ssize_t read_pressure(struct bt_conn *conn, const struct bt_gatt_attr *attr, void *buf, uint16_t len,
                             uint16_t offset)
{
    return bt_gatt_attr_read(conn, attr, buf, len, offset, &pressure, sizeof(pressure));
}

static ssize_t read_humidity(struct bt_conn *conn, const struct bt_gatt_attr *attr, void *buf, uint16_t len,
                             uint16_t offset)
{
    return bt_gatt_attr_read(conn, attr, buf, len, offset, &humidity, sizeof(humidity));
}

static void blvl_ccc_temperature_cfg_changed(const struct bt_gatt_attr *attr, uint16_t value)
{
    ARG_UNUSED(attr);
    bool enabled = (value == BT_GATT_CCC_NOTIFY);
    LOG_INF("Temperature notifications %s", enabled ? "enabled" : "disabled");
}

static void blvl_ccc_pressure_cfg_changed(const struct bt_gatt_attr *attr, uint16_t value)
{
    ARG_UNUSED(attr);
    bool enabled = (value == BT_GATT_CCC_NOTIFY);
    LOG_INF("Pressure notifications %s", enabled ? "enabled" : "disabled");
}

static void blvl_ccc_humidity_cfg_changed(const struct bt_gatt_attr *attr, uint16_t value)
{
    ARG_UNUSED(attr);
    bool enabled = (value == BT_GATT_CCC_NOTIFY);
    LOG_INF("Humidity notifications %s", enabled ? "enabled" : "disabled");
}

int bme280_service_start(void)
{
    if (bme280_dev == NULL) {
        LOG_ERR("No BME280 device found");
        return -ENXIO;
    }

    if (!device_is_ready(bme280_dev)) {
        LOG_ERR("No BME280 device is not ready");
        return -EIO;
    }

    k_work_init_delayable(&sample_periodic_work, sample_periodic_handler);
    k_work_schedule(&sample_periodic_work, K_MSEC(SAMPLING_INTERVAL_MS));

    return 0;
}
```

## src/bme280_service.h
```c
#ifndef __BME280_SERVICE_H__
#define __BME280_SERVICE_H__

int bme280_service_start(void);

#endif  //__BME280_SERVICE_H__
```

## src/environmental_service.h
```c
#ifndef __ENVIRONMENTAL_SERVICE_H__
#define __ENVIRONMENTAL_SERVICE_H__

int environmental_service_start(void);

#endif  //__ENVIRONMENTAL_SERVICE_H__
```

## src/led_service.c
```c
#include "led_service.h"

#include <zephyr/bluetooth/bluetooth.h>
#include <zephyr/bluetooth/gatt.h>
#include <zephyr/drivers/gpio.h>
#include <zephyr/logging/log.h>

LOG_MODULE_REGISTER(led_service, LOG_LEVEL_INF);

static const struct gpio_dt_spec led0 = GPIO_DT_SPEC_GET(DT_ALIAS(led0), gpios);
static const struct gpio_dt_spec led1 = GPIO_DT_SPEC_GET(DT_ALIAS(led1), gpios);
static const struct gpio_dt_spec led2 = GPIO_DT_SPEC_GET(DT_ALIAS(led2), gpios);

static volatile uint8_t leds_state = 0x00;

static void update_led_state(const struct gpio_dt_spec *led, uint8_t index, bool is_on)
{
    int val = is_on > 0 ? 1 : 0;
    gpio_pin_set_dt(led, val);
    LOG_INF("LED%i is %s", index, is_on ? "On" : "Off");
}

static ssize_t write_leds_state(struct bt_conn *conn, const struct bt_gatt_attr *attr, const void *buf, uint16_t len,
                                uint16_t offset, uint8_t flags)
{
    if (offset) {
        return BT_GATT_ERR(BT_ATT_ERR_INVALID_OFFSET);
    } else if (len != 1) {
        return BT_GATT_ERR(BT_ATT_ERR_INVALID_ATTRIBUTE_LEN);
    }

    uint8_t state = *(uint8_t *)buf;
    leds_state = state;
    update_led_state(&led0, 0, state & 0x01);
    update_led_state(&led1, 1, state & 0x02);
    update_led_state(&led2, 2, state & 0x04);

    return len;
}

static ssize_t read_leds_state(struct bt_conn *conn, const struct bt_gatt_attr *attr, void *buf, uint16_t len,
                               uint16_t offset)
{
    uint8_t state = leds_state;

    return bt_gatt_attr_read(conn, attr, buf, len, offset, &state, sizeof(state));
}

BT_GATT_SERVICE_DEFINE(led_service, BT_GATT_PRIMARY_SERVICE(BT_UUID_DECLARE_128(LED_SERVICE_UUID)),
                       BT_GATT_CHARACTERISTIC(BT_UUID_DECLARE_128(LED_CHARACTERISTIC_UUID),
                                              (BT_GATT_CHRC_WRITE | BT_GATT_CHRC_READ),
                                              (BT_GATT_PERM_WRITE | BT_GATT_PERM_READ), read_leds_state,
                                              write_leds_state, NULL), );

int led_service_start(void)
{
    int err;

    err = gpio_pin_configure_dt(&led0, GPIO_OUTPUT_INACTIVE);
    if (err) {
        LOG_ERR("LED 0 pin configure failed (err %d)", err);
        return err;
    }

    err = gpio_pin_configure_dt(&led1, GPIO_OUTPUT_INACTIVE);
    if (err) {
        LOG_ERR("LED 1 pin configure failed (err %d)", err);
        return err;
    }

    err = gpio_pin_configure_dt(&led2, GPIO_OUTPUT_INACTIVE);
    if (err) {
        LOG_ERR("LED 2 pin configure failed (err %d)", err);
        return err;
    }

    return 0;
}
```

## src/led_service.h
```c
#ifndef __LED_SERVICE_H__
#define __LED_SERVICE_H__

#include <zephyr/bluetooth/bluetooth.h>

#define LED_SERVICE_UUID BT_UUID_128_ENCODE(0x12345678, 0x1234, 0x5678, 0x1234, 0x56789abcdef0)
#define LED_CHARACTERISTIC_UUID BT_UUID_128_ENCODE(0x12345678, 0x1234, 0x5678, 0x1234, 0x56789abcdef1)

int led_service_start(void);

#endif  //__LED_SERVICE_H__
```
